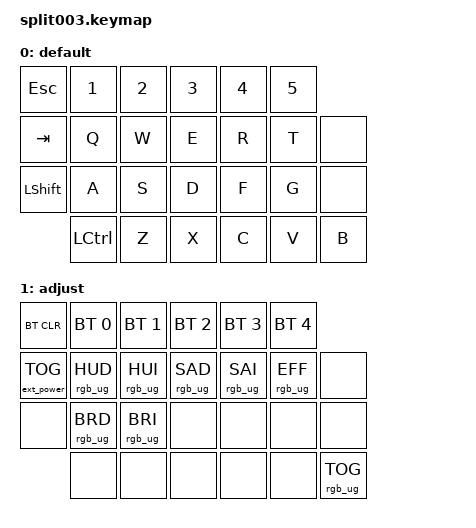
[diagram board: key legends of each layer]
/*
 * Copyright (c) 2020 The ZMK Contributors
 *
 * SPDX-License-Identifier: MIT
 */

#include <behaviors.dtsi>
#include <dt-bindings/zmk/keys.h>
#include <dt-bindings/zmk/bt.h>
#include <dt-bindings/zmk/rgb.h>
#include <dt-bindings/zmk/ext_power.h>

#define BASE 0
#define ADJUST 1

/ {

    keymap {
        compatible = "zmk,keymap";

        default_layer {
            display-name = "default";
            //    RC(0,0) RC(0,1) RC(0,2) RC(0,3)         RC(0,4) RC(0,5) RC(0,6) RC(0,7) RC(0,8) RC(0,9)                          RC(0,12) RC(0,13) RC(0,14) RC(0,15) RC(0,16) RC(0,17)      RC(0,18) RC(0,19) RC(0,20) RC(0,21)
            //    RC(1,0) RC(1,1) RC(1,2) RC(1,3)         RC(1,4) RC(1,5) RC(1,6) RC(1,7) RC(1,8) RC(1,9) RC(1,10)        RC(1,11) RC(1,12) RC(1,13) RC(1,14) RC(1,15) RC(1,16) RC(1,17)      RC(1,18) RC(1,19) RC(1,20) RC(1,21)
            //    RC(2,0) RC(2,1) RC(2,2) RC(2,3)         RC(2,4) RC(2,5) RC(2,6) RC(2,7) RC(2,8) RC(2,9) RC(2,10)        RC(2,11) RC(2,12) RC(2,13) RC(2,14) RC(2,15) RC(2,16) RC(2,17)      RC(2,18) RC(2,19) RC(2,20) RC(2,21)
            //    RC(3,0) RC(3,1) RC(3,2) RC(3,3)         RC(3,4) RC(3,5) RC(3,6) RC(3,7) RC(3,8) RC(3,9) RC(3,10)        RC(3,11) RC(3,12) RC(3,13) RC(3,14) RC(3,15) RC(3,16) RC(3,17)      RC(3,18) RC(3,19) RC(3,20) RC(3,21) 
            //                                                    RC(4,5) RC(4,6) RC(4,7) RC(4,8) RC(4,9) RC(4,10)        RC(4,11) RC(4,12) RC(4,13) RC(4,14) RC(4,15) RC(4,16)

            // ------------------------------------------------------------------------------------------------------------
            // |   `   |  1  |  2  |  3   |  4   |  5   |                   |  6   |  7    |  8    |  9   |   0   |       |
            // |  ESC  |  Q  |  W  |  E   |  R   |  T   |                   |  Y   |  U    |  I    |  O   |   P   | BKSPC |
            // |  TAB  |  A  |  S  |  D   |  F   |  G   |                   |  H   |  J    |  K    |  L   |   ;   |   '   |
            // | SHIFT |  Z  |  X  |  C   |  V   |  B   |  MUTE  |  |       |  N   |  M    |  ,    |  .   |   /   | SHIFT |
            //               | GUI | ALT  | CTRL | LOWER|  ENTER |  | SPACE | RAISE| CTRL  | ALT   | GUI  |
        /*  0        1      2         3        ||  4         5        6        7         8          9        10        ||  11         12        13       14        15      16       17       ||  18       19     20        21      */    
            bindings = <            
            &kp ESC   &kp N1    &kp N2   &kp N3    &kp N4    &kp N5           
            &kp TAB   &kp Q     &kp W    &kp E     &kp R     &kp T     &none  
            &kp LSHFT &kp A     &kp S    &kp D     &kp F     &kp G     &none  
                      &kp LCTRL &kp Z    &kp X     &kp C     &kp V     &kp B   
            >;

        };

        adjust_layer {
            display-name = "adjust";
            // ----------------------------------------------------------------------------------------------------------------------------
            // | BTCLR  |  BT1    |  BT2    |   BT3   |   BT4   |   BT5   |                  |      |      |       |      |       |       |
            // | EXTPWR | RGB_HUD | RGB_HUI | RGB_SAD | RGB_SAI | RGB_EFF |                  |      |      |       |      |       |       |
            // |        | RGB_BRD | RGB_BRI |         |         |         |                  |      |      |       |      |       |       |
            // |        |         |         |         |         |         | RGB_TOG | |      |      |      |       |      |       |       |
            //                    |         |         |         |         |         | |      |      |      |       |      |
        /*  0        1      2         3        ||  4                 5               6               7               8               9               10             ||   11    12    13    14    15    16    17     ||  18       19     20        21      */    
            bindings = <
            &bt BT_CLR        &bt BT_SEL 0    &bt BT_SEL 1    &bt BT_SEL 2    &bt BT_SEL 3    &bt BT_SEL 4                     
            &ext_power EP_TOG &rgb_ug RGB_HUD &rgb_ug RGB_HUI &rgb_ug RGB_SAD &rgb_ug RGB_SAI &rgb_ug RGB_EFF &none           
            &none             &rgb_ug RGB_BRD &rgb_ug RGB_BRI &none           &none           &none           &none             
                              &none           &none           &none           &none           &none           &rgb_ug RGB_TOG
            >;
        };
    };
};
